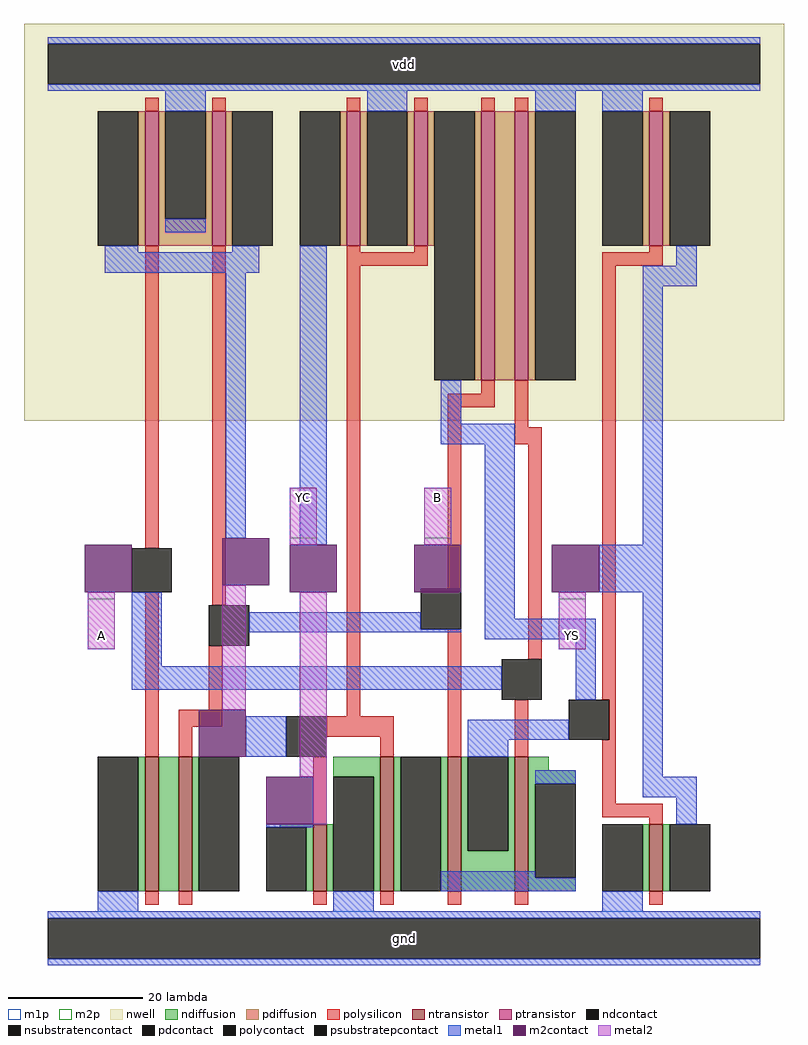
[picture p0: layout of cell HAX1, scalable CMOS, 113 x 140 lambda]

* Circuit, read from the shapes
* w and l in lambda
.subckt HAX1 A B YS YC vdd gnd
M1 n1 A gnd gnd nfet w=20 l=2
M2 n2 B n1 gnd nfet w=20 l=2
M3 gnd n2 YC gnd nfet w=10 l=2
M4 n3 n2 gnd gnd nfet w=20 l=2
M5 n4 B n3 gnd nfet w=20 l=2
M6 n3 A n4 gnd nfet w=20 l=2
M7 YS n4 gnd gnd nfet w=10 l=2
M8 vdd A n2 vdd pfet w=20 l=2
M9 n2 B vdd vdd pfet w=20 l=2
M10 vdd n2 YC vdd pfet w=20 l=2
M11 n4 n2 vdd vdd pfet w=20 l=2
M12 n5 B n4 vdd pfet w=40 l=2
M13 vdd A n5 vdd pfet w=40 l=2
M14 YS n4 vdd vdd pfet w=20 l=2
.ends

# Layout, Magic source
magic
tech scmos
magscale 1 2
<< nwell >>
rect -13 154 213 272
<< ntransistor >>
rect 23 14 27 54
rect 33 14 37 54
rect 73 14 77 34
rect 93 14 97 54
rect 113 14 117 54
rect 133 14 137 54
rect 173 14 177 34
<< ptransistor >>
rect 23 206 27 246
rect 43 206 47 246
rect 83 206 87 246
rect 103 206 107 246
rect 123 166 127 246
rect 133 166 137 246
rect 173 206 177 246
<< ndiffusion >>
rect 21 14 23 54
rect 27 14 33 54
rect 37 14 39 54
rect 79 48 93 54
rect 63 33 73 34
rect 71 14 73 33
rect 77 14 79 34
rect 91 14 93 48
rect 97 14 99 54
rect 111 14 113 54
rect 117 26 119 54
rect 131 26 133 54
rect 117 14 133 26
rect 137 50 143 54
rect 137 46 151 50
rect 137 18 139 46
rect 137 14 151 18
rect 171 14 173 34
rect 177 14 179 34
<< pdiffusion >>
rect 21 206 23 246
rect 27 214 29 246
rect 41 214 43 246
rect 27 206 43 214
rect 47 206 49 246
rect 81 206 83 246
rect 87 206 89 246
rect 101 206 103 246
rect 107 206 109 246
rect 121 166 123 246
rect 127 166 133 246
rect 137 166 139 246
rect 171 206 173 246
rect 177 206 179 246
<< ndcontact >>
rect 9 14 21 54
rect 39 14 51 54
rect 59 14 71 33
rect 79 14 91 48
rect 99 14 111 54
rect 119 26 131 54
rect 139 18 151 46
rect 159 14 171 34
rect 179 14 191 34
<< pdcontact >>
rect 9 206 21 246
rect 29 214 41 246
rect 49 206 61 246
rect 69 206 81 246
rect 89 206 101 246
rect 109 166 121 246
rect 139 166 151 246
rect 159 206 171 246
rect 179 206 191 246
<< psubstratepcontact >>
rect -6 -6 206 6
<< nsubstratencontact >>
rect -6 254 206 266
<< polysilicon >>
rect 23 246 27 250
rect 43 246 47 250
rect 83 246 87 250
rect 103 246 107 250
rect 123 246 127 250
rect 133 246 137 250
rect 173 246 177 250
rect 23 116 27 206
rect 23 54 27 103
rect 43 99 47 206
rect 83 204 87 206
rect 103 204 107 206
rect 83 200 107 204
rect 42 68 46 87
rect 33 63 46 68
rect 83 66 87 200
rect 173 204 177 206
rect 159 200 177 204
rect 123 162 127 166
rect 113 158 127 162
rect 113 104 117 158
rect 133 152 137 166
rect 133 147 141 152
rect 33 54 37 63
rect 77 60 97 66
rect 93 54 97 60
rect 113 54 117 92
rect 137 83 141 147
rect 159 71 163 200
rect 133 54 137 71
rect 161 59 163 71
rect 73 34 77 54
rect 159 40 163 59
rect 159 36 177 40
rect 173 34 177 36
rect 23 10 27 14
rect 33 10 37 14
rect 73 10 77 14
rect 93 10 97 14
rect 113 10 117 14
rect 133 10 137 14
rect 173 10 177 14
<< polycontact >>
rect 19 103 31 116
rect 42 87 54 99
rect 105 92 117 104
rect 65 54 77 66
rect 129 71 141 83
rect 149 59 161 71
<< metal1 >>
rect -6 266 206 268
rect -6 252 206 254
rect 29 246 41 252
rect 89 246 101 252
rect 139 246 151 252
rect 29 210 41 214
rect 11 204 21 206
rect 49 204 57 206
rect 11 198 57 204
rect 47 119 53 198
rect 69 117 77 206
rect 159 246 171 252
rect 181 200 187 206
rect 171 194 187 200
rect 111 153 117 166
rect 111 147 133 153
rect 19 81 28 103
rect 54 92 105 97
rect 54 91 117 92
rect 124 95 133 147
rect 171 117 177 194
rect 158 103 177 117
rect 124 89 157 95
rect 19 74 129 81
rect 151 71 157 89
rect 53 54 65 66
rect 119 59 149 65
rect 119 54 131 59
rect 59 33 73 34
rect 139 46 151 50
rect 111 18 139 20
rect 171 48 177 103
rect 171 42 187 48
rect 181 34 187 42
rect 111 14 151 18
rect 9 8 21 14
rect 79 8 91 14
rect 159 8 171 14
rect -6 6 206 8
rect -6 -8 206 -6
<< m2contact >>
rect 5 103 19 117
rect 46 105 60 119
rect 66 103 80 117
rect 103 104 117 117
rect 103 103 105 104
rect 105 103 117 104
rect 144 103 158 117
rect 39 54 53 68
rect 59 34 73 48
<< metal2 >>
rect 66 117 74 134
rect 106 117 114 134
rect 6 86 14 103
rect 46 68 53 105
rect 69 48 77 103
rect 146 86 154 103
rect 73 34 77 48
<< m1p >>
rect -6 252 206 268
rect -6 -8 206 8
<< m2p >>
rect 66 119 74 134
rect 106 119 114 134
rect 6 86 14 101
rect 146 86 154 101
<< labels >>
rlabel metal2 10 90 10 90 7 A
port 1 n signal input
rlabel metal2 110 131 110 131 3 B
port 2 n signal input
rlabel metal2 150 90 150 90 3 YS
port 3 n signal output
rlabel metal2 70 131 70 131 7 YC
port 4 n signal output
rlabel metal1 -6 252 206 268 0 vdd
port 5 nsew power bidirectional abutment
rlabel metal1 -6 -8 206 8 0 gnd
port 6 nsew ground bidirectional abutment
<< properties >>
string FIXED_BBOX 0 0 200 260
string LEFclass CORE
string LEFsite core
string LEFsymmetry X Y
<< end >>
